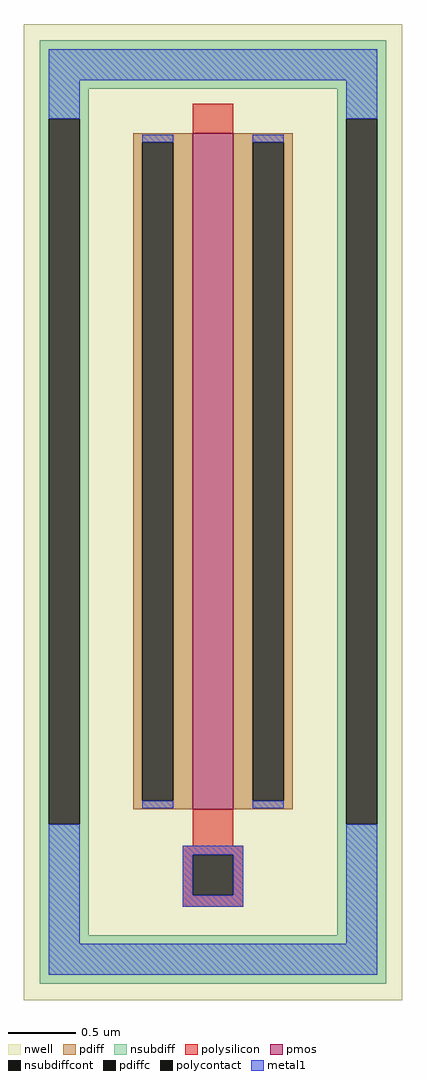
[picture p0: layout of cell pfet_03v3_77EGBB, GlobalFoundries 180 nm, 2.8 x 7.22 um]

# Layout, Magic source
magic
tech gf180mcuD
magscale 1 10
<< nwell >>
rect -280 -782 280 662
<< pmos >>
rect -30 -500 30 500
<< pdiff >>
rect -118 487 -30 500
rect -118 -487 -105 487
rect -59 -487 -30 487
rect -118 -500 -30 -487
rect 30 487 118 500
rect 30 -487 59 487
rect 105 -487 118 487
rect 30 -500 118 -487
<< pdiffc >>
rect -105 -487 -59 487
rect 59 -487 105 487
<< nsubdiff >>
rect -256 566 256 638
rect -256 522 -184 566
rect -256 -522 -243 522
rect -197 -522 -184 522
rect 184 522 256 566
rect -256 -686 -184 -522
rect 184 -522 197 522
rect 243 -522 256 522
rect 184 -686 256 -522
rect -256 -758 256 -686
<< nsubdiffcont >>
rect -243 -522 -197 522
rect 197 -522 243 522
<< polysilicon >>
rect -30 500 30 544
rect -30 -554 30 -500
rect -45 -567 45 -554
rect -45 -627 -30 -567
rect 30 -627 45 -567
rect -45 -644 45 -627
<< polycontact >>
rect -30 -627 30 -567
<< metal1 >>
rect -243 579 243 625
rect -243 522 -197 579
rect 197 522 243 579
rect -105 487 -59 498
rect -105 -498 -59 -487
rect 59 487 105 498
rect 59 -498 105 -487
rect -243 -699 -197 -522
rect -45 -567 45 -554
rect -45 -627 -30 -567
rect 30 -627 45 -567
rect -45 -644 45 -627
rect 197 -699 243 -522
rect -243 -745 243 -699
<< properties >>
string FIXED_BBOX -220 -602 220 602
string gencell pfet_03v3
string library gf180mcu
string parameters w 5 l 0.3 m 1 nf 1 diffcov 100 polycov 100 guard 1 glc 1 grc 1 gtc 0 gbc 0 tbcov 100 rlcov 100 topc 0 botc 0 poverlap 0 doverlap 1 lmin 0.28 wmin 0.22 class mosfet full_metal 1 compatible {pfet_03v3 pfet_05v0 pfet_06v0}
<< end >>
